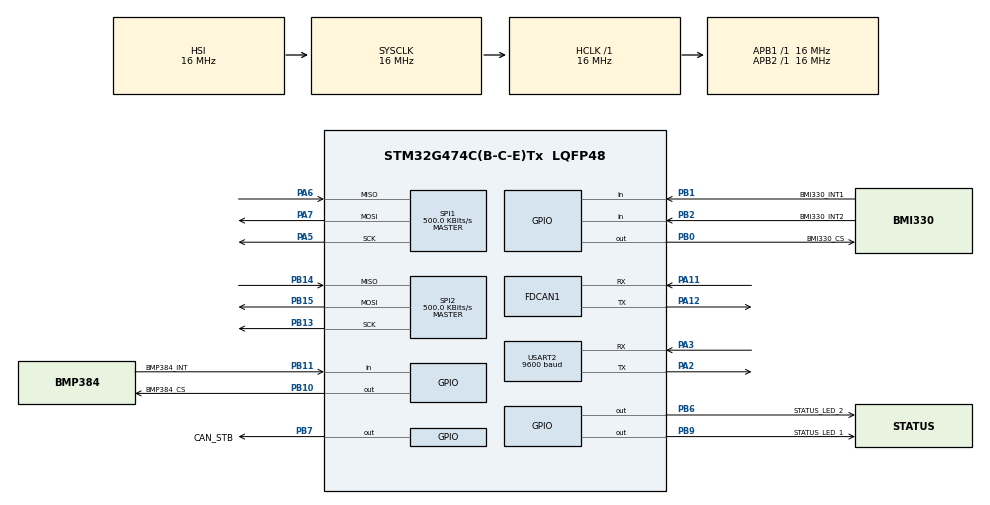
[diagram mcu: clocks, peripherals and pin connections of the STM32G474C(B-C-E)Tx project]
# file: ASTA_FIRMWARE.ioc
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FDCAN1.AutoRetransmission=ENABLE
FDCAN1.CalculateBaudRateNominal=500000
FDCAN1.CalculateTimeBitNominal=2000
FDCAN1.CalculateTimeQuantumNominal=125.0
FDCAN1.DataSyncJumpWidth=2
FDCAN1.DataTimeSeg1=5
FDCAN1.DataTimeSeg2=2
FDCAN1.FrameFormat=FDCAN_FRAME_FD_BRS
FDCAN1.NominalPrescaler=2
FDCAN1.NominalTimeSeg1=13
FDCAN1.NominalTimeSeg2=2
Mcu.Family=STM32G4
Mcu.Name=STM32G474C(B-C-E)Tx
Mcu.Package=LQFP48
NVIC.PriorityGroup=NVIC_PRIORITYGROUP_4
PA11.Mode=FDCAN_Activate
PA11.Signal=FDCAN1_RX
PA12.Mode=FDCAN_Activate
PA12.Signal=FDCAN1_TX
PA13.Signal=SYS_JTMS-SWDIO
PA14.Signal=SYS_JTCK-SWCLK
PA2.Mode=Asynchronous
PA2.Signal=USART2_TX
PA3.Mode=Asynchronous
PA3.Signal=USART2_RX
PA5.Mode=Full_Duplex_Master
PA5.Signal=SPI1_SCK
PA6.Mode=Full_Duplex_Master
PA6.Signal=SPI1_MISO
PA7.Mode=Full_Duplex_Master
PA7.Signal=SPI1_MOSI
PB0.GPIO_Label=BMI330_CS
PB0.PinState=GPIO_PIN_SET
PB0.Signal=GPIO_Output
PB1.GPIO_Label=BMI330_INT1
PB1.Signal=GPIO_Input
PB10.GPIO_Label=BMP384_CS
PB10.PinState=GPIO_PIN_SET
PB10.Signal=GPIO_Output
PB11.GPIO_Label=BMP384_INT
PB11.Signal=GPIO_Input
PB13.Mode=Full_Duplex_Master
PB13.Signal=SPI2_SCK
PB14.Mode=Full_Duplex_Master
PB14.Signal=SPI2_MISO
PB15.Mode=Full_Duplex_Master
PB15.Signal=SPI2_MOSI
PB2.GPIO_Label=BMI330_INT2
PB2.Signal=GPIO_Input
PB6.GPIO_Label=STATUS_LED_2
PB6.PinState=GPIO_PIN_SET
PB6.Signal=GPIO_Output
PB7.GPIO_Label=CAN_STB
PB7.Signal=GPIO_Output
PB9.GPIO_Label=STATUS_LED_1
PB9.PinState=GPIO_PIN_SET
PB9.Signal=GPIO_Output
ProjectManager.HeapSize=0x200
ProjectManager.StackSize=0x400
ProjectManager.TargetToolchain=STM32CubeIDE
RCC.AHBFreq_Value=16000000
RCC.APB1Freq_Value=16000000
RCC.APB1TimFreq_Value=16000000
RCC.APB2Freq_Value=16000000
RCC.APB2TimFreq_Value=16000000
RCC.CortexFreq_Value=16000000
RCC.EXTERNAL_CLOCK_VALUE=12288000
RCC.HCLKFreq_Value=16000000
RCC.HSE_VALUE=8000000
RCC.HSI48_VALUE=48000000
RCC.HSI_VALUE=16000000
RCC.LSE_VALUE=32768
RCC.SYSCLKFreq_VALUE=16000000
RCC.USBFreq_Value=64000000
RCC.VCOOutputFreq_Value=128000000
SPI1.BaudRatePrescaler=SPI_BAUDRATEPRESCALER_32
SPI1.CalculateBaudRate=500.0 KBits/s
SPI1.DataSize=SPI_DATASIZE_8BIT
SPI1.Direction=SPI_DIRECTION_2LINES
SPI1.Mode=SPI_MODE_MASTER
SPI1.VirtualType=VM_MASTER
SPI2.BaudRatePrescaler=SPI_BAUDRATEPRESCALER_32
SPI2.CalculateBaudRate=500.0 KBits/s
SPI2.DataSize=SPI_DATASIZE_8BIT
SPI2.Direction=SPI_DIRECTION_2LINES
SPI2.Mode=SPI_MODE_MASTER
SPI2.VirtualType=VM_MASTER
USART2.BaudRate=9600
USART2.VirtualMode-Asynchronous=VM_ASYNC
VP_SYS_VS_DBSignals.Mode=DisableDeadBatterySignals
board=custom

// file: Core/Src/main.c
/* USER CODE BEGIN Header */
/**
  ******************************************************************************
  * @file           : main.c
  * @brief          : Main program body
  ******************************************************************************
  * @attention
  *
  * Copyright (c) 2026 STMicroelectronics.
  * All rights reserved.
  *
  * This software is licensed under terms that can be found in the LICENSE file
  * in the root directory of this software component.
  * If no LICENSE file comes with this software, it is provided AS-IS.
  *
  ******************************************************************************
  */
/* USER CODE END Header */
#include "main.h"
#include "fdcan.h"
#include "spi.h"
#include "usart.h"
#include "gpio.h"

/* USER CODE BEGIN Includes */
#include "app_bmi330.h"
#include "app_bmp384.h"
#include "app_neo6m.h"
#include "app_can_IMU_BARO.h"
#include "app_can_GPS16.h"

#include <math.h>

/* USER CODE END Includes */

/* USER CODE BEGIN PTD */

typedef struct
{
  GPIO_TypeDef *port;
  uint16_t pin;
} app_led_t;

/* USER CODE END PTD */

/* USER CODE BEGIN PD */
#define BMI330_TX_PERIOD_MS                 50U
#define BMP384_TX_PERIOD_MS                 40U
#define NEO6M_TX_PERIOD_MS                  200U

#define BMP384_STALE_TIMEOUT_MS             150U

#define BARO_STD_SEA_LEVEL_PA               101325.0f
#define BARO_ALTITUDE_EXPONENT              5.2553024f
#define BARO_ALTITUDE_INV_EXPONENT          0.19029495f
#define BARO_ALTITUDE_SCALE_M               44330.0f
#define BARO_REFERENCE_GPS_ALPHA            0.98f
#define ALTITUDE_FUSION_BARO_WEIGHT         0.85f
#define ALTITUDE_FUSION_GPS_WEIGHT          0.15f

#define GPS_MIN_SATELLITES_FOR_ALTITUDE     4U
#define ALTITUDE_INVALID_CM                 SENSOR_ALT_INVALID_CM

#define HEARTBEAT_PERIOD_MS                 1000U
#define HEARTBEAT_PULSE_1_START_MS          0U
#define HEARTBEAT_PULSE_1_END_MS            70U
#define HEARTBEAT_PULSE_2_START_MS          140U
#define HEARTBEAT_PULSE_2_END_MS            210U

#define ERROR_BLINK_ON_MS                   140U
#define ERROR_BLINK_OFF_MS                  140U
#define ERROR_BLINK_GROUP_PAUSE_MS          900U

/* USER CODE END PD */

/* USER CODE BEGIN PV */
static uint32_t bmi330_last_tick = 0U;
static uint32_t bmp384_last_tick = 0U;
static uint32_t neo6m_last_tick  = 0U;
static uint32_t bmp384_last_valid_tick = 0U;

static bmp384_sample_t latest_bmp384_sample = {0};
static uint8_t latest_bmp384_valid = 0U;
static float baro_sea_level_pa = BARO_STD_SEA_LEVEL_PA;
static uint8_t baro_reference_valid = 0U;
static int32_t latest_baro_altitude_cm = ALTITUDE_INVALID_CM;
static uint8_t latest_baro_altitude_valid = 0U;
static int32_t latest_fused_altitude_cm = ALTITUDE_INVALID_CM;

static volatile app_error_code_t g_app_error_code = APP_ERROR_NONE;

static const app_led_t g_led1 = { STATUS_LED_1_GPIO_Port, STATUS_LED_1_Pin };
static const app_led_t g_led2 = { STATUS_LED_2_GPIO_Port, STATUS_LED_2_Pin };

/* Diagnostic globals for FDCAN start failure */
volatile uint32_t g_fdcan_diag_hal_err = 0U;
volatile uint32_t g_fdcan_diag_state   = 0U;
volatile uint32_t g_fdcan_diag_cccr    = 0U;
volatile uint32_t g_fdcan_diag_psr     = 0U;

/* USER CODE END PV */

void SystemClock_Config(void);
/* USER CODE BEGIN PFP */
static void APP_Init(void);
static void APP_Run(void);
static HAL_StatusTypeDef CAN_App_Init(void);
static void APP_Heartbeat_Update(uint32_t now);
static void APP_LED_On(const app_led_t *led);
static void APP_LED_Off(const app_led_t *led);
static void APP_LED_Set(const app_led_t *led, uint8_t on);
static void APP_LED_AllOff(void);
static void APP_ErrorDelayMs(uint32_t delay_ms);
static void APP_ErrorPatternLoop(app_error_code_t code);
static uint8_t APP_GpsAltitudeIsValid(const neo6m_data_t *gnss);
static int32_t APP_AltitudeDmToCm(int16_t altitude_dm);
static HAL_StatusTypeDef APP_BaroComputeSeaLevelPressure(float pressure_pa, int32_t altitude_cm, float *sea_level_pa);
static HAL_StatusTypeDef APP_BaroComputeAltitudeCm(float pressure_pa, float sea_level_pa, int32_t *altitude_cm);
static void APP_RecomputeFusedAltitude(const neo6m_data_t *gnss);
static void APP_UpdateBaroReferenceFromGps(const neo6m_data_t *gnss);

/* USER CODE END PFP */

/* USER CODE BEGIN 0 */
static void APP_LED_On(const app_led_t *led)
{
  HAL_GPIO_WritePin(led->port, led->pin, GPIO_PIN_RESET);
}

static void APP_LED_Off(const app_led_t *led)
{
  HAL_GPIO_WritePin(led->port, led->pin, GPIO_PIN_SET);
}

static void APP_LED_Set(const app_led_t *led, uint8_t on)
{
  if (on != 0U)
  {
    APP_LED_On(led);
  }
  else
  {
    APP_LED_Off(led);
  }
}

static void APP_LED_AllOff(void)
{
  APP_LED_Off(&g_led1);
  APP_LED_Off(&g_led2);
}

void Error_Handler_SetCode(app_error_code_t code)
{
  if ((g_app_error_code == APP_ERROR_NONE) && (code != APP_ERROR_NONE))
  {
    g_app_error_code = code;
  }
}

static void APP_ErrorDelayMs(uint32_t delay_ms)
{
  while (delay_ms > 0U)
  {
    while ((SysTick->CTRL & SysTick_CTRL_COUNTFLAG_Msk) == 0U)
    {
    }
    delay_ms--;
  }
}

static void APP_ErrorPatternLoop(app_error_code_t code)
{
  uint32_t blink_count;
  uint32_t i;

  if (code == APP_ERROR_NONE)
  {
    code = APP_ERROR_ASSERT;
  }

  blink_count = (uint32_t)code;

  while (1)
  {
    for (i = 0U; i < blink_count; i++)
    {
      APP_LED_On(&g_led1);
      APP_LED_On(&g_led2);
      APP_ErrorDelayMs(ERROR_BLINK_ON_MS);

      APP_LED_AllOff();
      APP_ErrorDelayMs(ERROR_BLINK_OFF_MS);
    }

    APP_ErrorDelayMs(ERROR_BLINK_GROUP_PAUSE_MS);
  }
}

static uint8_t APP_GpsAltitudeIsValid(const neo6m_data_t *gnss)
{
  if (gnss == NULL)
  {
    return 0U;
  }

  if ((gnss->valid == 0U) ||
      (gnss->fix_valid == 0U) ||
      (gnss->fix_quality == 0U) ||
      (gnss->satellites < GPS_MIN_SATELLITES_FOR_ALTITUDE))
  {
    return 0U;
  }

  return 1U;
}

static int32_t APP_AltitudeDmToCm(int16_t altitude_dm)
{
  return ((int32_t)altitude_dm) * 10;
}

static HAL_StatusTypeDef APP_BaroComputeSeaLevelPressure(float pressure_pa, int32_t altitude_cm, float *sea_level_pa)
{
  float altitude_m;
  float ratio;

  if ((sea_level_pa == NULL) || (pressure_pa <= 0.0f))
  {
    return HAL_ERROR;
  }

  altitude_m = ((float)altitude_cm) * 0.01f;
  ratio = 1.0f - (altitude_m / BARO_ALTITUDE_SCALE_M);

  if (ratio <= 0.0f)
  {
    return HAL_ERROR;
  }

  *sea_level_pa = pressure_pa / powf(ratio, BARO_ALTITUDE_EXPONENT);

  if (*sea_level_pa <= 0.0f)
  {
    return HAL_ERROR;
  }

  return HAL_OK;
}

static HAL_StatusTypeDef APP_BaroComputeAltitudeCm(float pressure_pa, float sea_level_pa, int32_t *altitude_cm)
{
  float altitude_m;
  float ratio;
  float altitude_cm_f;

  if ((altitude_cm == NULL) || (pressure_pa <= 0.0f) || (sea_level_pa <= 0.0f))
  {
    return HAL_ERROR;
  }

  ratio = pressure_pa / sea_level_pa;
  altitude_m = BARO_ALTITUDE_SCALE_M * (1.0f - powf(ratio, BARO_ALTITUDE_INV_EXPONENT));
  altitude_cm_f = altitude_m * 100.0f;

  if (altitude_cm_f > 2147483000.0f)
  {
    *altitude_cm = 2147483000;
  }
  else if (altitude_cm_f < -2147483000.0f)
  {
    *altitude_cm = -2147483000;
  }
  else if (altitude_cm_f >= 0.0f)
  {
    *altitude_cm = (int32_t)(altitude_cm_f + 0.5f);
  }
  else
  {
    *altitude_cm = (int32_t)(altitude_cm_f - 0.5f);
  }

  return HAL_OK;
}

static void APP_RecomputeFusedAltitude(const neo6m_data_t *gnss)
{
  uint8_t gps_altitude_valid = 0U;
  int32_t gps_altitude_cm = ALTITUDE_INVALID_CM;
  float fused_altitude_cm_f;

  if (APP_GpsAltitudeIsValid(gnss) != 0U)
  {
    gps_altitude_valid = 1U;
    gps_altitude_cm = APP_AltitudeDmToCm(gnss->altitude_dm);
  }

  if ((baro_reference_valid != 0U) && (latest_bmp384_valid != 0U) &&
      (APP_BaroComputeAltitudeCm(latest_bmp384_sample.pressure_pa,
                                 baro_sea_level_pa,
                                 &latest_baro_altitude_cm) == HAL_OK))
  {
    latest_baro_altitude_valid = 1U;
  }
  else
  {
    latest_baro_altitude_cm = ALTITUDE_INVALID_CM;
    latest_baro_altitude_valid = 0U;
  }

  if ((gps_altitude_valid != 0U) && (latest_baro_altitude_valid != 0U))
  {
    fused_altitude_cm_f = (((float)latest_baro_altitude_cm) * ALTITUDE_FUSION_BARO_WEIGHT) +
                          (((float)gps_altitude_cm) * ALTITUDE_FUSION_GPS_WEIGHT);

    if (fused_altitude_cm_f >= 0.0f)
    {
      latest_fused_altitude_cm = (int32_t)(fused_altitude_cm_f + 0.5f);
    }
    else
    {
      latest_fused_altitude_cm = (int32_t)(fused_altitude_cm_f - 0.5f);
    }
  }
  else if (latest_baro_altitude_valid != 0U)
  {
    latest_fused_altitude_cm = latest_baro_altitude_cm;
  }
  else if (gps_altitude_valid != 0U)
  {
    latest_fused_altitude_cm = gps_altitude_cm;
  }
  else
  {
    latest_fused_altitude_cm = ALTITUDE_INVALID_CM;
  }
}

static void APP_UpdateBaroReferenceFromGps(const neo6m_data_t *gnss)
{
  float candidate_sea_level_pa;

  if ((APP_GpsAltitudeIsValid(gnss) == 0U) || (latest_bmp384_valid == 0U))
  {
    return;
  }

  if (APP_BaroComputeSeaLevelPressure(latest_bmp384_sample.pressure_pa,
                                      APP_AltitudeDmToCm(gnss->altitude_dm),
                                      &candidate_sea_level_pa) != HAL_OK)
  {
    return;
  }

  if (baro_reference_valid == 0U)
  {
    baro_sea_level_pa = candidate_sea_level_pa;
    baro_reference_valid = 1U;
  }
  else
  {
    baro_sea_level_pa = (BARO_REFERENCE_GPS_ALPHA * baro_sea_level_pa) +
                        ((1.0f - BARO_REFERENCE_GPS_ALPHA) * candidate_sea_level_pa);
  }
}

static void APP_Heartbeat_Update(uint32_t now)
{
  uint32_t phase = now % HEARTBEAT_PERIOD_MS;
  uint8_t led1_on = 0U;
  uint8_t led2_on = 0U;

  if ((phase >= HEARTBEAT_PULSE_1_START_MS) && (phase < HEARTBEAT_PULSE_1_END_MS))
  {
    led1_on = 1U;
  }

  if ((phase >= HEARTBEAT_PULSE_2_START_MS) && (phase < HEARTBEAT_PULSE_2_END_MS))
  {
    led2_on = 1U;
  }

  APP_LED_Set(&g_led1, led1_on);
  APP_LED_Set(&g_led2, led2_on);
}

static HAL_StatusTypeDef CAN_App_Init(void)
{
  HAL_GPIO_WritePin(CAN_STB_GPIO_Port, CAN_STB_Pin, GPIO_PIN_RESET);

  g_fdcan_diag_hal_err = 0U;
  g_fdcan_diag_state   = (uint32_t)hfdcan1.State;
  g_fdcan_diag_cccr    = hfdcan1.Instance->CCCR;
  g_fdcan_diag_psr     = hfdcan1.Instance->PSR;

  if (HAL_FDCAN_Start(&hfdcan1) != HAL_OK)
  {
    g_fdcan_diag_hal_err = HAL_FDCAN_GetError(&hfdcan1);
    g_fdcan_diag_state   = (uint32_t)hfdcan1.State;
    g_fdcan_diag_cccr    = hfdcan1.Instance->CCCR;
    g_fdcan_diag_psr     = hfdcan1.Instance->PSR;
    return HAL_ERROR;
  }

  g_fdcan_diag_hal_err = HAL_FDCAN_GetError(&hfdcan1);
  g_fdcan_diag_state   = (uint32_t)hfdcan1.State;
  g_fdcan_diag_cccr    = hfdcan1.Instance->CCCR;
  g_fdcan_diag_psr     = hfdcan1.Instance->PSR;

  return HAL_OK;
}

static void APP_Init(void)
{
  if (CAN_App_Init() != HAL_OK)
  {
    Error_HandlerEx(APP_ERROR_CAN_START);
  }

  if (BMI330_App_Init() != HAL_OK)
  {
    Error_HandlerEx(APP_ERROR_BMI330_INIT);
  }

  if (BMP384_App_Init() != HAL_OK)
  {
    Error_HandlerEx(APP_ERROR_BMP384_INIT);
  }

  if (NEO6M_App_Init() != HAL_OK)
  {
    Error_HandlerEx(APP_ERROR_NEO6M_INIT);
  }

  bmi330_last_tick = HAL_GetTick();
  bmp384_last_tick = HAL_GetTick();
  neo6m_last_tick  = HAL_GetTick();
  bmp384_last_valid_tick = 0U;

  latest_bmp384_sample.pressure_pa = 0.0f;
  latest_bmp384_sample.temperature_c = 0.0f;
  latest_bmp384_sample.valid = false;
  latest_bmp384_valid = 0U;
  baro_sea_level_pa = BARO_STD_SEA_LEVEL_PA;
  baro_reference_valid = 0U;
  latest_baro_altitude_cm = ALTITUDE_INVALID_CM;
  latest_baro_altitude_valid = 0U;
  latest_fused_altitude_cm = ALTITUDE_INVALID_CM;

  APP_LED_AllOff();
}

static void APP_Run(void)
{
  uint32_t now = HAL_GetTick();

  APP_Heartbeat_Update(now);

  NEO6M_App_Process();

  if ((uint32_t)(now - bmp384_last_tick) >= BMP384_TX_PERIOD_MS)
  {
    bmp384_sample_t bmp_sample;
    neo6m_data_t gnss_snapshot;

    bmp384_last_tick = now;

    if (BMP384_App_HasNewData() != 0U)
    {
      if (BMP384_App_ReadSample(&bmp_sample) == HAL_OK)
      {
        BMP384_App_ClearNewData();

        if (bmp_sample.valid != false)
        {
          latest_bmp384_sample = bmp_sample;
          latest_bmp384_valid = 1U;
          bmp384_last_valid_tick = now;

          if (NEO6M_App_ReadLatest(&gnss_snapshot) == HAL_OK)
          {
            APP_RecomputeFusedAltitude(&gnss_snapshot);
          }
        }
      }
    }
  }

  if ((latest_bmp384_valid != 0U) &&
      ((uint32_t)(now - bmp384_last_valid_tick) > BMP384_STALE_TIMEOUT_MS))
  {
    neo6m_data_t gnss_snapshot;

    latest_bmp384_valid = 0U;
    latest_bmp384_sample.valid = false;
    latest_baro_altitude_cm = ALTITUDE_INVALID_CM;
    latest_baro_altitude_valid = 0U;

    if (NEO6M_App_ReadLatest(&gnss_snapshot) == HAL_OK)
    {
      APP_RecomputeFusedAltitude(&gnss_snapshot);
    }
    else
    {
      latest_fused_altitude_cm = ALTITUDE_INVALID_CM;
    }
  }

  if ((uint32_t)(now - bmi330_last_tick) >= BMI330_TX_PERIOD_MS)
  {
    bmi330_raw_t imu_sample;

    bmi330_last_tick = now;

    if (BMI330_App_ReadRaw(&imu_sample) == HAL_OK)
    {
      (void)CAN_SENSOR_App_SendCombined(&imu_sample, latest_fused_altitude_cm);
    }
  }

  if ((uint32_t)(now - neo6m_last_tick) >= NEO6M_TX_PERIOD_MS)
  {
    neo6m_data_t gnss_sample;

    neo6m_last_tick = now;

    if (NEO6M_App_HasNewData() != 0U)
    {
      if (NEO6M_App_ReadLatest(&gnss_sample) == HAL_OK)
      {
        APP_UpdateBaroReferenceFromGps(&gnss_sample);
        APP_RecomputeFusedAltitude(&gnss_sample);

        if (CAN_NEO6M_App_SendData(&gnss_sample) == HAL_OK)
        {
          NEO6M_App_ClearNewData();
        }
      }
    }
  }

  HAL_Delay(1);
}

/* USER CODE END 0 */

int main(void)
{

  /* MCU Configuration--------------------------------------------------------*/

  /* Reset of all peripherals, Initializes the Flash interface and the Systick. */
  HAL_Init();

  /* Configure the system clock */
  SystemClock_Config();

  /* Initialize all configured peripherals */
  MX_GPIO_Init();
  MX_FDCAN1_Init();
  MX_SPI1_Init();
  MX_SPI2_Init();
  MX_USART2_UART_Init();
  APP_Init();

  /* Infinite loop */
  /* USER CODE BEGIN WHILE */
  while (1)
  {
    APP_Run();
    /* USER CODE END WHILE */

  }
}

void SystemClock_Config(void)
{
  RCC_OscInitTypeDef RCC_OscInitStruct = {0};
  RCC_ClkInitTypeDef RCC_ClkInitStruct = {0};

  /** Configure the main internal regulator output voltage
  */
  HAL_PWREx_ControlVoltageScaling(PWR_REGULATOR_VOLTAGE_SCALE1);

  /** Initializes the RCC Oscillators according to the specified parameters
  * in the RCC_OscInitTypeDef structure.
  */
  RCC_OscInitStruct.OscillatorType = RCC_OSCILLATORTYPE_HSI;
  RCC_OscInitStruct.HSIState = RCC_HSI_ON;
  RCC_OscInitStruct.HSICalibrationValue = RCC_HSICALIBRATION_DEFAULT;
  RCC_OscInitStruct.PLL.PLLState = RCC_PLL_NONE;
  if (HAL_RCC_OscConfig(&RCC_OscInitStruct) != HAL_OK)
  {
    Error_HandlerEx(APP_ERROR_CLOCK_CONFIG);
  }

  /** Initializes the CPU, AHB and APB buses clocks
  */
  RCC_ClkInitStruct.ClockType = RCC_CLOCKTYPE_HCLK|RCC_CLOCKTYPE_SYSCLK
                              |RCC_CLOCKTYPE_PCLK1|RCC_CLOCKTYPE_PCLK2;
  RCC_ClkInitStruct.SYSCLKSource = RCC_SYSCLKSOURCE_HSI;
  RCC_ClkInitStruct.AHBCLKDivider = RCC_SYSCLK_DIV1;
  RCC_ClkInitStruct.APB1CLKDivider = RCC_HCLK_DIV1;
  RCC_ClkInitStruct.APB2CLKDivider = RCC_HCLK_DIV1;

  if (HAL_RCC_ClockConfig(&RCC_ClkInitStruct, FLASH_LATENCY_0) != HAL_OK)
  {
    Error_HandlerEx(APP_ERROR_CLOCK_CONFIG);
  }
}

void Error_Handler(void)
{
  /* USER CODE BEGIN Error_Handler_Debug */
  Error_HandlerEx(g_app_error_code);
  /* USER CODE END Error_Handler_Debug */
}

void Error_HandlerEx(app_error_code_t code)
{
  /* USER CODE BEGIN Error_HandlerEx_Debug */
  Error_Handler_SetCode(code);
  __disable_irq();
  APP_LED_AllOff();
  APP_ErrorPatternLoop(g_app_error_code);
  /* USER CODE END Error_HandlerEx_Debug */
}

#ifdef USE_FULL_ASSERT
/**
  * @brief  Reports the name of the source file and the source line number
  *         where the assert_param error has occurred.
  * @param  file: pointer to the source file name
  * @param  line: assert_param error line source number
  * @retval None
  */
void assert_failed(uint8_t *file, uint32_t line)
{
  /* USER CODE BEGIN 6 */
  (void)file;
  (void)line;
  Error_HandlerEx(APP_ERROR_ASSERT);
  /* USER CODE END 6 */
}
#endif /* USE_FULL_ASSERT */
